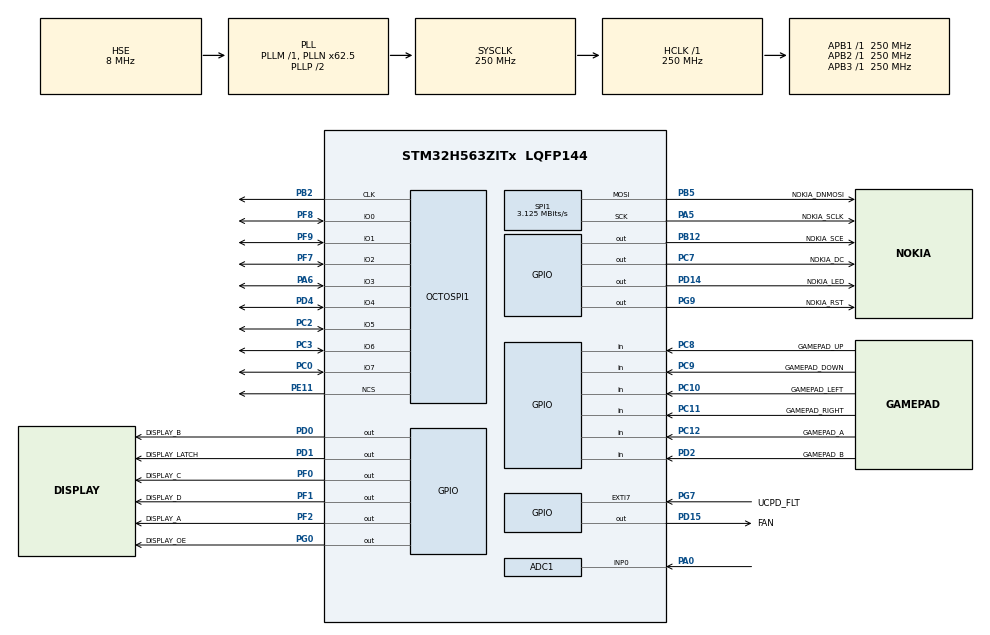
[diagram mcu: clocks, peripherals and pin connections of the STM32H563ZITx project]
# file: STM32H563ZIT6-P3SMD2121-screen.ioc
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ADC1.Channel-1\#ChannelRegularConversion=ADC_CHANNEL_0
ADC1.ClockPrescaler=ADC_CLOCK_ASYNC_DIV128
ADC1.ContinuousConvMode=ENABLE
ADC1.DMAContinuousRequests=ENABLE
ADC1.MonitoredBy-1\#ChannelRegularConversion=__NULL
ADC1.NbrOfConversionFlag=1
ADC1.OffsetNumber-1\#ChannelRegularConversion=ADC_OFFSET_NONE
ADC1.Rank-1\#ChannelRegularConversion=1
ADC1.SamplingTime-1\#ChannelRegularConversion=ADC_SAMPLETIME_2CYCLES_5
ADC1.master=1
BOOTPATH.BootPathName=LEGACY
BOOTPATH.UserSelectedBootPath=LEGACY
CORTEX_M33_NS.Number-Cortex_Memory_Protection_Unit_Region0_OTP_RO_AREAS_Settings=MPU_REGION_NUMBER0
CORTEX_M33_NS.default_mode_Activation=1
CORTEX_M33_NS.userName=CORTEX_M33
GPDMA1.CIRCULARMODE_GPDMACH2=ENABLE
GPDMA1.ChannelPRIV_GPDMACH0=DMA_CHANNEL_NPRIV
GPDMA1.DESTDATAWIDTH_GPDMACH2=DMA_DEST_DATAWIDTH_HALFWORD
GPDMA1.DESTINC_GPDMACH0=DMA_DINC_FIXED
GPDMA1.DESTINC_GPDMACH1=DMA_DINC_FIXED
GPDMA1.DIRECTION_GPDMACH0=DMA_MEMORY_TO_PERIPH
GPDMA1.DIRECTION_GPDMACH1=DMA_MEMORY_TO_PERIPH
GPDMA1.DMAHANDLE_GPDMACH0=hdmatx
GPDMA1.IPHANDLE_GPDMACH0-SIMPLEREQUEST_GPDMACH0=__NULL
GPDMA1.IPHANDLE_GPDMACH1-SIMPLEREQUEST_GPDMACH1=__NULL
GPDMA1.IPHANDLE_GPDMACH2-SIMPLEREQUEST_GPDMACH2=__NULL
GPDMA1.PRIORITY_GPDMACH0=DMA_LOW_PRIORITY_LOW_WEIGHT
GPDMA1.REQUEST_GPDMACH0=GPDMA1_REQUEST_OCTOSPI1
GPDMA1.REQUEST_GPDMACH1=GPDMA1_REQUEST_SPI1_TX
GPDMA1.REQUEST_GPDMACH2=GPDMA1_REQUEST_ADC1
GPDMA1.SRCDATAWIDTH_GPDMACH2=DMA_SRC_DATAWIDTH_HALFWORD
GPDMA1.SRCINC_GPDMACH0=DMA_SINC_INCREMENTED
GPDMA1.SRCINC_GPDMACH1=DMA_SINC_INCREMENTED
Mcu.Family=STM32H5
Mcu.Name=STM32H563ZITx
Mcu.Package=LQFP144
NUCLEO-H563ZI.BUTTON=1
NUCLEO-H563ZI.LD1=true
NUCLEO-H563ZI.LD2=true
NUCLEO-H563ZI.LD3=true
NUCLEO-H563ZI.VCP=true
NVIC.EXTI13_IRQn=true\:0\:0\:false\:false\:true\:false\:true\:true
NVIC.GPDMA1_Channel0_IRQn=true\:0\:0\:false\:false\:true\:false\:true\:true
NVIC.GPDMA1_Channel1_IRQn=true\:0\:0\:false\:false\:true\:false\:true\:true
NVIC.GPDMA1_Channel2_IRQn=true\:0\:0\:false\:false\:true\:false\:true\:true
NVIC.OCTOSPI1_IRQn=true\:0\:0\:false\:false\:true\:true\:true\:true
NVIC.PriorityGroup=NVIC_PRIORITYGROUP_4
NVIC.SPI1_IRQn=true\:0\:0\:false\:false\:true\:true\:true\:true
OCTOSPI1.ClockMode=HAL_XSPI_CLOCK_MODE_0
OCTOSPI1.ClockPrescaler=0
OCTOSPI1.MemorySize=HAL_XSPI_SIZE_1KB
OCTOSPI1.MemoryType=HAL_XSPI_MEMTYPE_MICRON
OCTOSPI1.SampleShifting=HAL_XSPI_SAMPLE_SHIFT_NONE
PA0.Signal=ADCx_INP0
PA1.GPIO_Label=RMII_REF_CLK
PA1.GPIO_Mode=GPIO_MODE_AF_PP
PA1.GPIO_PuPd=GPIO_NOPULL
PA1.GPIO_Speed=GPIO_SPEED_FREQ_LOW
PA1.Signal=ETH_REF_CLK
PA11.GPIO_Label=USB_FS_N
PA11.Signal=USB_DM
PA12.GPIO_Label=USB_FS_P
PA12.Signal=USB_DP
PA13(JTMS/SWDIO).GPIO_Label=SWDIO
PA13(JTMS/SWDIO).Signal=DEBUG_JTMS-SWDIO
PA14(JTCK/SWCLK).GPIO_Label=SWCLK
PA14(JTCK/SWCLK).Signal=DEBUG_JTCK-SWCLK
PA15(JTDI).GPIO_Label=T_JTDI
PA15(JTDI).Signal=DEBUG_JTDI
PA2.GPIO_Label=RMII_MDIO
PA2.GPIO_Mode=GPIO_MODE_AF_PP
PA2.GPIO_PuPd=GPIO_NOPULL
PA2.GPIO_Speed=GPIO_SPEED_FREQ_LOW
PA2.Signal=ETH_MDIO
PA4.GPIO_Label=VBUS_SENSE
PA4.Signal=ADCx_INP18
PA5.GPIO_Label=NOKIA_SCLK
PA5.Mode=TX_Only_Simplex_Unidirect_Master
PA5.Signal=SPI1_SCK
PA6.GPIO_Speed_High_Default=GPIO_SPEED_FREQ_LOW
PA6.Mode=OCTOSPI1_IO_Octo
PA6.Signal=OCTOSPI1_IO3
PA7.GPIO_Label=RMII_CRS_DV
PA7.GPIO_Mode=GPIO_MODE_AF_PP
PA7.GPIO_PuPd=GPIO_NOPULL
PA7.GPIO_Speed=GPIO_SPEED_FREQ_LOW
PA7.Signal=ETH_CRS_DV
PA9.GPIO_Label=UCDP_DBn
PA9.Signal=UCPD1_DB1
PB12.GPIO_Label=NOKIA_SCE
PB12.Signal=GPIO_Output
PB13.GPIO_Label=UCPD_CC1
PB13.Signal=UCPD1_CC1
PB14.GPIO_Label=UCPD_CC2
PB14.Signal=UCPD1_CC2
PB15.GPIO_Label=RMII_TXD1
PB15.GPIO_Mode=GPIO_MODE_AF_PP
PB15.GPIO_PuPd=GPIO_NOPULL
PB15.GPIO_Speed=GPIO_SPEED_FREQ_LOW
PB15.Signal=ETH_TXD1
PB2.GPIO_PuPd=GPIO_PULLUP
PB2.GPIO_Speed_High_Default=GPIO_SPEED_FREQ_LOW
PB2.Mode=octo_mode
PB2.Signal=OCTOSPI1_CLK
PB3(JTDO/TRACESWO).GPIO_Label=SWO
PB3(JTDO/TRACESWO).Signal=DEBUG_JTDO-SWO
PB5.GPIO_Label=NOKIA_DNMOSI
PB5.Mode=TX_Only_Simplex_Unidirect_Master
PB5.Signal=SPI1_MOSI
PB6.GPIO_Label=ARD_D1_TX
PB6.Signal=LPUART1_TX
PB7.GPIO_Label=ARD_D0_RX
PB7.Signal=LPUART1_RX
PC0.GPIO_Speed_High_Default=GPIO_SPEED_FREQ_LOW
PC0.Mode=OCTOSPI1_IO_Octo
PC0.Signal=OCTOSPI1_IO7
PC1.GPIO_Label=RMII_MDC
PC1.GPIO_Mode=GPIO_MODE_AF_PP
PC1.GPIO_PuPd=GPIO_NOPULL
PC1.GPIO_Speed=GPIO_SPEED_FREQ_LOW
PC1.Signal=ETH_MDC
PC10.GPIO_Label=GAMEPAD_LEFT
PC10.GPIO_PuPd=GPIO_PULLUP
PC10.Signal=GPIO_Input
PC11.GPIO_Label=GAMEPAD_RIGHT
PC11.GPIO_PuPd=GPIO_PULLUP
PC11.Signal=GPIO_Input
PC12.GPIO_Label=GAMEPAD_A
PC12.GPIO_PuPd=GPIO_PULLUP
PC12.Signal=GPIO_Input
PC14-OSC32_IN(OSC32_IN).Mode=LSE-External-Oscillator
PC14-OSC32_IN(OSC32_IN).Signal=RCC_OSC32_IN
PC15-OSC32_OUT(OSC32_OUT).Mode=LSE-External-Oscillator
PC15-OSC32_OUT(OSC32_OUT).Signal=RCC_OSC32_OUT
PC2.GPIO_Speed_High_Default=GPIO_SPEED_FREQ_LOW
PC2.Mode=OCTOSPI1_IO_Octo
PC2.Signal=OCTOSPI1_IO5
PC3.GPIO_Speed_High_Default=GPIO_SPEED_FREQ_LOW
PC3.Mode=OCTOSPI1_IO_Octo
PC3.Signal=OCTOSPI1_IO6
PC4.GPIO_Label=RMII_RXD0
PC4.GPIO_Mode=GPIO_MODE_AF_PP
PC4.GPIO_PuPd=GPIO_NOPULL
PC4.GPIO_Speed=GPIO_SPEED_FREQ_LOW
PC4.Signal=ETH_RXD0
PC5.GPIO_Label=RMII_RXD1
PC5.GPIO_Mode=GPIO_MODE_AF_PP
PC5.GPIO_PuPd=GPIO_NOPULL
PC5.GPIO_Speed=GPIO_SPEED_FREQ_LOW
PC5.Signal=ETH_RXD1
PC7.GPIO_Label=NOKIA_DC
PC7.Signal=GPIO_Output
PC8.GPIO_Label=GAMEPAD_UP
PC8.GPIO_PuPd=GPIO_PULLUP
PC8.Signal=GPIO_Input
PC9.GPIO_Label=GAMEPAD_DOWN
PC9.GPIO_PuPd=GPIO_PULLUP
PC9.Signal=GPIO_Input
PD0.GPIO_Label=DISPLAY_B
PD0.GPIO_ModeDefaultOutputPP=GPIO_MODE_OUTPUT_OD
PD0.GPIO_PuPd=GPIO_NOPULL
PD0.GPIO_Speed=GPIO_SPEED_FREQ_LOW
PD0.Signal=GPIO_Output
PD1.GPIO_Label=DISPLAY_LATCH
PD1.GPIO_ModeDefaultOutputPP=GPIO_MODE_OUTPUT_OD
PD1.GPIO_PuPd=GPIO_NOPULL
PD1.GPIO_Speed=GPIO_SPEED_FREQ_LOW
PD1.Signal=GPIO_Output
PD14.GPIO_Label=NOKIA_LED
PD14.Signal=GPIO_Output
PD15.GPIO_Label=FAN
PD15.Signal=GPIO_Output
PD2.GPIO_Label=GAMEPAD_B
PD2.GPIO_PuPd=GPIO_PULLUP
PD2.Signal=GPIO_Input
PD4.GPIO_Speed_High_Default=GPIO_SPEED_FREQ_LOW
PD4.Mode=OCTOSPI1_IO_Octo
PD4.Signal=OCTOSPI1_IO4
PD8.Signal=USART3_TX
PD9.Signal=USART3_RX
PE11.GPIO_Speed_High_Default=GPIO_SPEED_FREQ_LOW
PE11.Mode=octo_mode
PE11.Signal=OCTOSPI1_NCS
PE2.GPIO_Label=TRACE_CK
PE2.Signal=DEBUG_TRACECLK
PE3.GPIO_Label=TRACE_D0
PE3.Signal=DEBUG_TRACED0
PE4.GPIO_Label=TRACE_D1
PE4.Signal=DEBUG_TRACED1
PE5.GPIO_Label=TRACE_D2
PE5.Signal=DEBUG_TRACED2
PE6.GPIO_Label=TRACE_D3
PE6.Signal=DEBUG_TRACED3
PF0.GPIO_Label=DISPLAY_C
PF0.GPIO_ModeDefaultOutputPP=GPIO_MODE_OUTPUT_OD
PF0.GPIO_PuPd=GPIO_NOPULL
PF0.GPIO_Speed=GPIO_SPEED_FREQ_LOW
PF0.Signal=GPIO_Output
PF1.GPIO_Label=DISPLAY_D
PF1.GPIO_ModeDefaultOutputPP=GPIO_MODE_OUTPUT_OD
PF1.GPIO_PuPd=GPIO_NOPULL
PF1.GPIO_Speed=GPIO_SPEED_FREQ_LOW
PF1.Signal=GPIO_Output
PF2.GPIO_Label=DISPLAY_A
PF2.GPIO_ModeDefaultOutputPP=GPIO_MODE_OUTPUT_OD
PF2.GPIO_PuPd=GPIO_NOPULL
PF2.GPIO_Speed=GPIO_SPEED_FREQ_LOW
PF2.Signal=GPIO_Output
PF7.GPIO_Speed_High_Default=GPIO_SPEED_FREQ_LOW
PF7.Mode=OCTOSPI1_IO_Octo
PF7.Signal=OCTOSPI1_IO2
PF8.GPIO_Speed_High_Default=GPIO_SPEED_FREQ_LOW
PF8.Mode=OCTOSPI1_IO_Octo
PF8.Signal=OCTOSPI1_IO0
PF9.GPIO_Speed_High_Default=GPIO_SPEED_FREQ_LOW
PF9.Mode=OCTOSPI1_IO_Octo
PF9.Signal=OCTOSPI1_IO1
PG0.GPIO_Label=DISPLAY_OE
PG0.GPIO_ModeDefaultOutputPP=GPIO_MODE_OUTPUT_OD
PG0.GPIO_PuPd=GPIO_NOPULL
PG0.GPIO_Speed=GPIO_SPEED_FREQ_LOW
PG0.Signal=GPIO_Output
PG11.GPIO_Label=RMII_TXT_EN
PG11.GPIO_Mode=GPIO_MODE_AF_PP
PG11.GPIO_PuPd=GPIO_NOPULL
PG11.GPIO_Speed=GPIO_SPEED_FREQ_LOW
PG11.Signal=ETH_TX_EN
PG13.GPIO_Label=RMI_TXD0
PG13.GPIO_Mode=GPIO_MODE_AF_PP
PG13.GPIO_PuPd=GPIO_NOPULL
PG13.GPIO_Speed=GPIO_SPEED_FREQ_LOW
PG13.Signal=ETH_TXD0
PG7.GPIO_Label=UCPD_FLT
PG7.Signal=GPXTI7
PG9.GPIO_Label=NOKIA_RST
PG9.Signal=GPIO_Output
PH0-OSC_IN(PH0).GPIO_Label=STLK_MCO
PH0-OSC_IN(PH0).Mode=HSE-External-Clock-Source
PH0-OSC_IN(PH0).Signal=RCC_OSC_IN
ProjectManager.HeapSize=0x200
ProjectManager.StackSize=0x400
ProjectManager.TargetToolchain=STM32CubeIDE
RCC.ADCFreq_Value=250000000
RCC.AHBFreq_Value=250000000
RCC.APB1Freq_Value=250000000
RCC.APB1TimFreq_Value=250000000
RCC.APB2Freq_Value=250000000
RCC.APB2TimFreq_Value=250000000
RCC.APB3Freq_Value=250000000
RCC.CSI_VALUE=4000000
RCC.CortexFreq_Value=250000000
RCC.EPOD_VALUE=8000000
RCC.HCLKFreq_Value=250000000
RCC.HSE_VALUE=8000000
RCC.HSI48_VALUE=48000000
RCC.HSIDiv=RCC_HSI_DIV1
RCC.HSI_VALUE=64000000
RCC.LSIRC_VALUE=32000
RCC.OCTOSPIMCLockSelection=RCC_OSPICLKSOURCE_PLL2R
RCC.PLL1Q=5
RCC.PLL2FRACN=0
RCC.PLL2N=16
RCC.PLL2R=64
RCC.PLL2Source=RCC_PLL2_SOURCE_HSE
RCC.PLLFRACN=4096
RCC.PLLN=62
RCC.PLLSourceVirtual=RCC_PLL1_SOURCE_HSE
RCC.SYSCLKFreq_VALUE=250000000
RCC.SYSCLKSource=RCC_SYSCLKSOURCE_PLLCLK
RCC.USBFreq_Value=48000000
RCC.VCOOutputFreq_Value=500000000
SH.ADCx_INP0.0=ADC1_INP0,IN0-Single-Ended
SH.ADCx_INP18.0=ADC1_INP18
SPI1.BaudRatePrescaler=SPI_BAUDRATEPRESCALER_32
SPI1.CLKPolarity=SPI_POLARITY_LOW
SPI1.CRCCalculation=SPI_CRCCALCULATION_DISABLE
SPI1.CalculateBaudRate=3.125 MBits/s
SPI1.DataSize=SPI_DATASIZE_8BIT
SPI1.Direction=SPI_DIRECTION_2LINES_TXONLY
SPI1.FirstBit=SPI_FIRSTBIT_MSB
SPI1.Mode=SPI_MODE_MASTER
SPI1.NSSPMode=SPI_NSS_PULSE_DISABLE
SPI1.VirtualType=VM_MASTER
VP_BOOTPATH_VS_BOOTPATH.Mode=BP_Activate
VP_CORTEX_M33_NS_VS_Hclk.Mode=Hclk_Mode
VP_GPDMA1_VS_GPDMACH0.Mode=SIMPLEREQUEST_GPDMACH0
VP_GPDMA1_VS_GPDMACH1.Mode=SIMPLEREQUEST_GPDMACH1
VP_GPDMA1_VS_GPDMACH2.Mode=SIMPLEREQUEST_GPDMACH2
VP_ICACHE_VS_ICACHE.Mode=DirectMappedCache
VP_MEMORYMAP_VS_MEMORYMAP.Mode=CurAppReg
VP_NUCLEO-H563ZI_VS_BSP_COMMON.Mode=COMMON
VP_PWR_VS_DBSignals.Mode=DisableDeadBatterySignals
VP_PWR_VS_LPOM.Mode=PowerOptimisation
VP_PWR_VS_SECSignals.Mode=Security/Privilege
board=NUCLEO-H563ZI

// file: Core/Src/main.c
/* USER CODE BEGIN Header */
/**
  ******************************************************************************
  * @file           : main.c
  * @brief          : Main program body
  ******************************************************************************
  * @attention
  *
  * Copyright (c) 2026 STMicroelectronics.
  * All rights reserved.
  *
  * This software is licensed under terms that can be found in the LICENSE file
  * in the root directory of this software component.
  * If no LICENSE file comes with this software, it is provided AS-IS.
  *
  ******************************************************************************
  */
/* USER CODE END Header */
#include "main.h"

/* USER CODE BEGIN Includes */
#include "hub75_ospi.h"
#include "nokia3310.h"
#include "main_logic.h"
#include "gamepad.h"
/* USER CODE END Includes */

COM_InitTypeDef BspCOMInit;
ADC_HandleTypeDef hadc1;
DMA_NodeTypeDef Node_GPDMA1_Channel2;
DMA_QListTypeDef List_GPDMA1_Channel2;
DMA_HandleTypeDef handle_GPDMA1_Channel2;

XSPI_HandleTypeDef hxspi1;
DMA_HandleTypeDef handle_GPDMA1_Channel0;

SPI_HandleTypeDef hspi1;
DMA_HandleTypeDef handle_GPDMA1_Channel1;

/* USER CODE BEGIN PV */
volatile uint32_t adcBuffer[1] = {0};
volatile uint32_t randomNumber = 0;
volatile uint8_t randomBits = 0;
/* USER CODE END PV */

void SystemClock_Config(void);
static void MPU_Config(void);
static void MX_GPIO_Init(void);
static void MX_GPDMA1_Init(void);
static void MX_ICACHE_Init(void);
static void MX_OCTOSPI1_Init(void);
static void MX_SPI1_Init(void);
static void MX_ADC1_Init(void);
/* USER CODE BEGIN PFP */

void HAL_ADC_ConvCpltCallback(ADC_HandleTypeDef* hadc);

/* USER CODE END PFP */

int main(void)
{

  /* MCU Configuration--------------------------------------------------------*/

  /* MPU Configuration--------------------------------------------------------*/
  MPU_Config();

  /* Reset of all peripherals, Initializes the Flash interface and the Systick. */
  HAL_Init();

  /* Configure the system clock */
  SystemClock_Config();

  /* Initialize all configured peripherals */
  MX_GPIO_Init();
  MX_GPDMA1_Init();
  MX_ICACHE_Init();
  MX_OCTOSPI1_Init();
  MX_SPI1_Init();
  MX_ADC1_Init();
  /* USER CODE BEGIN 2 */

  HAL_ADC_Start_DMA(&hadc1, adcBuffer, 1);

  /* USER CODE END 2 */

  /* Initialize leds */
  BSP_LED_Init(LED_GREEN);
  BSP_LED_Init(LED_YELLOW);
  BSP_LED_Init(LED_RED);

  /* Initialize USER push-button, will be used to trigger an interrupt each time it's pressed.*/
  BSP_PB_Init(BUTTON_USER, BUTTON_MODE_EXTI);

  /* Initialize COM1 port (115200, 8 bits (7-bit data + 1 stop bit), no parity */
  BspCOMInit.BaudRate   = 115200;
  BspCOMInit.WordLength = COM_WORDLENGTH_8B;
  BspCOMInit.StopBits   = COM_STOPBITS_1;
  BspCOMInit.Parity     = COM_PARITY_NONE;
  BspCOMInit.HwFlowCtl  = COM_HWCONTROL_NONE;
  if (BSP_COM_Init(COM1, &BspCOMInit) != BSP_ERROR_NONE)
  {
    Error_Handler();
  }

  /* Infinite loop */
  /* USER CODE BEGIN WHILE */
  HAL_GPIO_WritePin(LED1_GPIO_PORT, LED1_PIN, GPIO_PIN_RESET);
  HAL_GPIO_WritePin(LED2_GPIO_PORT, LED2_PIN, GPIO_PIN_RESET);
  HAL_GPIO_WritePin(LED3_GPIO_PORT, LED3_PIN, GPIO_PIN_RESET);

  /* NOKIA driver init */
  NOKIA_Init(&hspi1);

  /* HUB75 driver init */
  HUB75_Init(&hxspi1);

  //DrawProtogen();

  NOKIA_StartDataPrepare();
  NOKIA_SetChar('B', 20, 20, 1, 0);
  NOKIA_StopDataPrepare();
  NOKIA_SendData();

  LogicInit();

  while (1)
  {
	LogicLoop();
    /* USER CODE END WHILE */

  }
}

void SystemClock_Config(void)
{
  RCC_OscInitTypeDef RCC_OscInitStruct = {0};
  RCC_ClkInitTypeDef RCC_ClkInitStruct = {0};

  /** Configure the main internal regulator output voltage
  */
  __HAL_PWR_VOLTAGESCALING_CONFIG(PWR_REGULATOR_VOLTAGE_SCALE0);

  while(!__HAL_PWR_GET_FLAG(PWR_FLAG_VOSRDY)) {}

  /** Initializes the RCC Oscillators according to the specified parameters
  * in the RCC_OscInitTypeDef structure.
  */
  RCC_OscInitStruct.OscillatorType = RCC_OSCILLATORTYPE_HSE;
  RCC_OscInitStruct.HSEState = RCC_HSE_BYPASS;
  RCC_OscInitStruct.PLL.PLLState = RCC_PLL_ON;
  RCC_OscInitStruct.PLL.PLLSource = RCC_PLL1_SOURCE_HSE;
  RCC_OscInitStruct.PLL.PLLM = 1;
  RCC_OscInitStruct.PLL.PLLN = 62;
  RCC_OscInitStruct.PLL.PLLP = 2;
  RCC_OscInitStruct.PLL.PLLQ = 5;
  RCC_OscInitStruct.PLL.PLLR = 2;
  RCC_OscInitStruct.PLL.PLLRGE = RCC_PLL1_VCIRANGE_3;
  RCC_OscInitStruct.PLL.PLLVCOSEL = RCC_PLL1_VCORANGE_WIDE;
  RCC_OscInitStruct.PLL.PLLFRACN = 4096;
  if (HAL_RCC_OscConfig(&RCC_OscInitStruct) != HAL_OK)
  {
    Error_Handler();
  }

  /** Initializes the CPU, AHB and APB buses clocks
  */
  RCC_ClkInitStruct.ClockType = RCC_CLOCKTYPE_HCLK|RCC_CLOCKTYPE_SYSCLK
                              |RCC_CLOCKTYPE_PCLK1|RCC_CLOCKTYPE_PCLK2
                              |RCC_CLOCKTYPE_PCLK3;
  RCC_ClkInitStruct.SYSCLKSource = RCC_SYSCLKSOURCE_PLLCLK;
  RCC_ClkInitStruct.AHBCLKDivider = RCC_SYSCLK_DIV1;
  RCC_ClkInitStruct.APB1CLKDivider = RCC_HCLK_DIV1;
  RCC_ClkInitStruct.APB2CLKDivider = RCC_HCLK_DIV1;
  RCC_ClkInitStruct.APB3CLKDivider = RCC_HCLK_DIV1;

  if (HAL_RCC_ClockConfig(&RCC_ClkInitStruct, FLASH_LATENCY_5) != HAL_OK)
  {
    Error_Handler();
  }

  /** Configure the programming delay
  */
  __HAL_FLASH_SET_PROGRAM_DELAY(FLASH_PROGRAMMING_DELAY_2);
}

static void MX_ADC1_Init(void)
{

  ADC_ChannelConfTypeDef sConfig = {0};

  /** Common config
  */
  hadc1.Instance = ADC1;
  hadc1.Init.ClockPrescaler = ADC_CLOCK_ASYNC_DIV128;
  hadc1.Init.Resolution = ADC_RESOLUTION_12B;
  hadc1.Init.DataAlign = ADC_DATAALIGN_RIGHT;
  hadc1.Init.ScanConvMode = ADC_SCAN_DISABLE;
  hadc1.Init.EOCSelection = ADC_EOC_SINGLE_CONV;
  hadc1.Init.LowPowerAutoWait = DISABLE;
  hadc1.Init.ContinuousConvMode = ENABLE;
  hadc1.Init.NbrOfConversion = 1;
  hadc1.Init.DiscontinuousConvMode = DISABLE;
  hadc1.Init.ExternalTrigConv = ADC_SOFTWARE_START;
  hadc1.Init.ExternalTrigConvEdge = ADC_EXTERNALTRIGCONVEDGE_NONE;
  hadc1.Init.DMAContinuousRequests = ENABLE;
  hadc1.Init.SamplingMode = ADC_SAMPLING_MODE_NORMAL;
  hadc1.Init.Overrun = ADC_OVR_DATA_PRESERVED;
  hadc1.Init.OversamplingMode = DISABLE;
  if (HAL_ADC_Init(&hadc1) != HAL_OK)
  {
    Error_Handler();
  }

  /** Configure Regular Channel
  */
  sConfig.Channel = ADC_CHANNEL_0;
  sConfig.Rank = ADC_REGULAR_RANK_1;
  sConfig.SamplingTime = ADC_SAMPLETIME_2CYCLES_5;
  sConfig.SingleDiff = ADC_SINGLE_ENDED;
  sConfig.OffsetNumber = ADC_OFFSET_NONE;
  sConfig.Offset = 0;
  if (HAL_ADC_ConfigChannel(&hadc1, &sConfig) != HAL_OK)
  {
    Error_Handler();
  }

}

static void MX_GPDMA1_Init(void)
{

  /* Peripheral clock enable */
  __HAL_RCC_GPDMA1_CLK_ENABLE();

  /* GPDMA1 interrupt Init */
    HAL_NVIC_SetPriority(GPDMA1_Channel0_IRQn, 0, 0);
    HAL_NVIC_EnableIRQ(GPDMA1_Channel0_IRQn);
    HAL_NVIC_SetPriority(GPDMA1_Channel1_IRQn, 0, 0);
    HAL_NVIC_EnableIRQ(GPDMA1_Channel1_IRQn);
    HAL_NVIC_SetPriority(GPDMA1_Channel2_IRQn, 0, 0);
    HAL_NVIC_EnableIRQ(GPDMA1_Channel2_IRQn);

}

static void MX_ICACHE_Init(void)
{

  /** Enable instruction cache in 1-way (direct mapped cache)
  */
  if (HAL_ICACHE_ConfigAssociativityMode(ICACHE_1WAY) != HAL_OK)
  {
    Error_Handler();
  }
  if (HAL_ICACHE_Enable() != HAL_OK)
  {
    Error_Handler();
  }

}

static void MX_OCTOSPI1_Init(void)
{

  /* OCTOSPI1 parameter configuration*/
  hxspi1.Instance = OCTOSPI1;
  hxspi1.Init.FifoThresholdByte = 1;
  hxspi1.Init.MemoryMode = HAL_XSPI_SINGLE_MEM;
  hxspi1.Init.MemoryType = HAL_XSPI_MEMTYPE_MICRON;
  hxspi1.Init.MemorySize = HAL_XSPI_SIZE_1KB;
  hxspi1.Init.ChipSelectHighTimeCycle = 1;
  hxspi1.Init.FreeRunningClock = HAL_XSPI_FREERUNCLK_DISABLE;
  hxspi1.Init.ClockMode = HAL_XSPI_CLOCK_MODE_0;
  hxspi1.Init.WrapSize = HAL_XSPI_WRAP_NOT_SUPPORTED;
  hxspi1.Init.ClockPrescaler = 0;
  hxspi1.Init.SampleShifting = HAL_XSPI_SAMPLE_SHIFT_NONE;
  hxspi1.Init.DelayHoldQuarterCycle = HAL_XSPI_DHQC_DISABLE;
  hxspi1.Init.ChipSelectBoundary = HAL_XSPI_BONDARYOF_NONE;
  hxspi1.Init.DelayBlockBypass = HAL_XSPI_DELAY_BLOCK_BYPASS;
  hxspi1.Init.Refresh = 0;
  if (HAL_XSPI_Init(&hxspi1) != HAL_OK)
  {
    Error_Handler();
  }

}

static void MX_SPI1_Init(void)
{

  /* SPI1 parameter configuration*/
  hspi1.Instance = SPI1;
  hspi1.Init.Mode = SPI_MODE_MASTER;
  hspi1.Init.Direction = SPI_DIRECTION_2LINES_TXONLY;
  hspi1.Init.DataSize = SPI_DATASIZE_8BIT;
  hspi1.Init.CLKPolarity = SPI_POLARITY_LOW;
  hspi1.Init.CLKPhase = SPI_PHASE_1EDGE;
  hspi1.Init.NSS = SPI_NSS_SOFT;
  hspi1.Init.BaudRatePrescaler = SPI_BAUDRATEPRESCALER_32;
  hspi1.Init.FirstBit = SPI_FIRSTBIT_MSB;
  hspi1.Init.TIMode = SPI_TIMODE_DISABLE;
  hspi1.Init.CRCCalculation = SPI_CRCCALCULATION_DISABLE;
  hspi1.Init.CRCPolynomial = 0x7;
  hspi1.Init.NSSPMode = SPI_NSS_PULSE_DISABLE;
  hspi1.Init.NSSPolarity = SPI_NSS_POLARITY_LOW;
  hspi1.Init.FifoThreshold = SPI_FIFO_THRESHOLD_01DATA;
  hspi1.Init.MasterSSIdleness = SPI_MASTER_SS_IDLENESS_00CYCLE;
  hspi1.Init.MasterInterDataIdleness = SPI_MASTER_INTERDATA_IDLENESS_00CYCLE;
  hspi1.Init.MasterReceiverAutoSusp = SPI_MASTER_RX_AUTOSUSP_DISABLE;
  hspi1.Init.MasterKeepIOState = SPI_MASTER_KEEP_IO_STATE_DISABLE;
  hspi1.Init.IOSwap = SPI_IO_SWAP_DISABLE;
  hspi1.Init.ReadyMasterManagement = SPI_RDY_MASTER_MANAGEMENT_INTERNALLY;
  hspi1.Init.ReadyPolarity = SPI_RDY_POLARITY_HIGH;
  if (HAL_SPI_Init(&hspi1) != HAL_OK)
  {
    Error_Handler();
  }

}

static void MX_GPIO_Init(void)
{
  GPIO_InitTypeDef GPIO_InitStruct = {0};

  /* GPIO Ports Clock Enable */
  __HAL_RCC_GPIOE_CLK_ENABLE();
  __HAL_RCC_GPIOC_CLK_ENABLE();
  __HAL_RCC_GPIOF_CLK_ENABLE();
  __HAL_RCC_GPIOH_CLK_ENABLE();
  __HAL_RCC_GPIOA_CLK_ENABLE();
  __HAL_RCC_GPIOB_CLK_ENABLE();
  __HAL_RCC_GPIOG_CLK_ENABLE();
  __HAL_RCC_GPIOD_CLK_ENABLE();

  /*Configure GPIO pin Output Level */
  HAL_GPIO_WritePin(GPIOF, DISPLAY_C_Pin|DISPLAY_D_Pin|DISPLAY_A_Pin, GPIO_PIN_RESET);

  /*Configure GPIO pin Output Level */
  HAL_GPIO_WritePin(GPIOG, DISPLAY_OE_Pin|NOKIA_RST_Pin, GPIO_PIN_RESET);

  /*Configure GPIO pin Output Level */
  HAL_GPIO_WritePin(NOKIA_SCE_GPIO_Port, NOKIA_SCE_Pin, GPIO_PIN_RESET);

  /*Configure GPIO pin Output Level */
  HAL_GPIO_WritePin(GPIOD, NOKIA_LED_Pin|FAN_Pin|DISPLAY_B_Pin|DISPLAY_LATCH_Pin, GPIO_PIN_RESET);

  /*Configure GPIO pin Output Level */
  HAL_GPIO_WritePin(NOKIA_DC_GPIO_Port, NOKIA_DC_Pin, GPIO_PIN_RESET);

  /*Configure GPIO pins : DISPLAY_C_Pin DISPLAY_D_Pin DISPLAY_A_Pin */
  GPIO_InitStruct.Pin = DISPLAY_C_Pin|DISPLAY_D_Pin|DISPLAY_A_Pin;
  GPIO_InitStruct.Mode = GPIO_MODE_OUTPUT_OD;
  GPIO_InitStruct.Pull = GPIO_NOPULL;
  GPIO_InitStruct.Speed = GPIO_SPEED_FREQ_LOW;
  HAL_GPIO_Init(GPIOF, &GPIO_InitStruct);

  /*Configure GPIO pins : RMII_MDC_Pin RMII_RXD0_Pin RMII_RXD1_Pin */
  GPIO_InitStruct.Pin = RMII_MDC_Pin|RMII_RXD0_Pin|RMII_RXD1_Pin;
  GPIO_InitStruct.Mode = GPIO_MODE_AF_PP;
  GPIO_InitStruct.Pull = GPIO_NOPULL;
  GPIO_InitStruct.Speed = GPIO_SPEED_FREQ_HIGH;
  GPIO_InitStruct.Alternate = GPIO_AF11_ETH;
  HAL_GPIO_Init(GPIOC, &GPIO_InitStruct);

  /*Configure GPIO pins : RMII_REF_CLK_Pin RMII_MDIO_Pin RMII_CRS_DV_Pin */
  GPIO_InitStruct.Pin = RMII_REF_CLK_Pin|RMII_MDIO_Pin|RMII_CRS_DV_Pin;
  GPIO_InitStruct.Mode = GPIO_MODE_AF_PP;
  GPIO_InitStruct.Pull = GPIO_NOPULL;
  GPIO_InitStruct.Speed = GPIO_SPEED_FREQ_HIGH;
  GPIO_InitStruct.Alternate = GPIO_AF11_ETH;
  HAL_GPIO_Init(GPIOA, &GPIO_InitStruct);

  /*Configure GPIO pin : DISPLAY_OE_Pin */
  GPIO_InitStruct.Pin = DISPLAY_OE_Pin;
  GPIO_InitStruct.Mode = GPIO_MODE_OUTPUT_OD;
  GPIO_InitStruct.Pull = GPIO_NOPULL;
  GPIO_InitStruct.Speed = GPIO_SPEED_FREQ_LOW;
  HAL_GPIO_Init(DISPLAY_OE_GPIO_Port, &GPIO_InitStruct);

  /*Configure GPIO pin : NOKIA_SCE_Pin */
  GPIO_InitStruct.Pin = NOKIA_SCE_Pin;
  GPIO_InitStruct.Mode = GPIO_MODE_OUTPUT_PP;
  GPIO_InitStruct.Pull = GPIO_NOPULL;
  GPIO_InitStruct.Speed = GPIO_SPEED_FREQ_LOW;
  HAL_GPIO_Init(NOKIA_SCE_GPIO_Port, &GPIO_InitStruct);

  /*Configure GPIO pins : UCPD_CC1_Pin UCPD_CC2_Pin */
  GPIO_InitStruct.Pin = UCPD_CC1_Pin|UCPD_CC2_Pin;
  GPIO_InitStruct.Mode = GPIO_MODE_ANALOG;
  GPIO_InitStruct.Pull = GPIO_NOPULL;
  HAL_GPIO_Init(GPIOB, &GPIO_InitStruct);

  /*Configure GPIO pin : RMII_TXD1_Pin */
  GPIO_InitStruct.Pin = RMII_TXD1_Pin;
  GPIO_InitStruct.Mode = GPIO_MODE_AF_PP;
  GPIO_InitStruct.Pull = GPIO_NOPULL;
  GPIO_InitStruct.Speed = GPIO_SPEED_FREQ_HIGH;
  GPIO_InitStruct.Alternate = GPIO_AF11_ETH;
  HAL_GPIO_Init(RMII_TXD1_GPIO_Port, &GPIO_InitStruct);

  /*Configure GPIO pins : NOKIA_LED_Pin FAN_Pin */
  GPIO_InitStruct.Pin = NOKIA_LED_Pin|FAN_Pin;
  GPIO_InitStruct.Mode = GPIO_MODE_OUTPUT_PP;
  GPIO_InitStruct.Pull = GPIO_NOPULL;
  GPIO_InitStruct.Speed = GPIO_SPEED_FREQ_LOW;
  HAL_GPIO_Init(GPIOD, &GPIO_InitStruct);

  /*Configure GPIO pin : UCPD_FLT_Pin */
  GPIO_InitStruct.Pin = UCPD_FLT_Pin;
  GPIO_InitStruct.Mode = GPIO_MODE_IT_RISING;
  GPIO_InitStruct.Pull = GPIO_NOPULL;
  HAL_GPIO_Init(UCPD_FLT_GPIO_Port, &GPIO_InitStruct);

  /*Configure GPIO pin : NOKIA_DC_Pin */
  GPIO_InitStruct.Pin = NOKIA_DC_Pin;
  GPIO_InitStruct.Mode = GPIO_MODE_OUTPUT_PP;
  GPIO_InitStruct.Pull = GPIO_NOPULL;
  GPIO_InitStruct.Speed = GPIO_SPEED_FREQ_LOW;
  HAL_GPIO_Init(NOKIA_DC_GPIO_Port, &GPIO_InitStruct);

  /*Configure GPIO pins : GAMEPAD_UP_Pin GAMEPAD_DOWN_Pin GAMEPAD_LEFT_Pin GAMEPAD_RIGHT_Pin
                           GAMEPAD_A_Pin */
  GPIO_InitStruct.Pin = GAMEPAD_UP_Pin|GAMEPAD_DOWN_Pin|GAMEPAD_LEFT_Pin|GAMEPAD_RIGHT_Pin
                          |GAMEPAD_A_Pin;
  GPIO_InitStruct.Mode = GPIO_MODE_INPUT;
  GPIO_InitStruct.Pull = GPIO_PULLUP;
  HAL_GPIO_Init(GPIOC, &GPIO_InitStruct);

  /*Configure GPIO pins : USB_FS_N_Pin USB_FS_P_Pin */
  GPIO_InitStruct.Pin = USB_FS_N_Pin|USB_FS_P_Pin;
  GPIO_InitStruct.Mode = GPIO_MODE_AF_PP;
  GPIO_InitStruct.Pull = GPIO_NOPULL;
  GPIO_InitStruct.Speed = GPIO_SPEED_FREQ_LOW;
  GPIO_InitStruct.Alternate = GPIO_AF10_USB;
  HAL_GPIO_Init(GPIOA, &GPIO_InitStruct);

  /*Configure GPIO pins : DISPLAY_B_Pin DISPLAY_LATCH_Pin */
  GPIO_InitStruct.Pin = DISPLAY_B_Pin|DISPLAY_LATCH_Pin;
  GPIO_InitStruct.Mode = GPIO_MODE_OUTPUT_OD;
  GPIO_InitStruct.Pull = GPIO_NOPULL;
  GPIO_InitStruct.Speed = GPIO_SPEED_FREQ_LOW;
  HAL_GPIO_Init(GPIOD, &GPIO_InitStruct);

  /*Configure GPIO pin : GAMEPAD_B_Pin */
  GPIO_InitStruct.Pin = GAMEPAD_B_Pin;
  GPIO_InitStruct.Mode = GPIO_MODE_INPUT;
  GPIO_InitStruct.Pull = GPIO_PULLUP;
  HAL_GPIO_Init(GAMEPAD_B_GPIO_Port, &GPIO_InitStruct);

  /*Configure GPIO pin : NOKIA_RST_Pin */
  GPIO_InitStruct.Pin = NOKIA_RST_Pin;
  GPIO_InitStruct.Mode = GPIO_MODE_OUTPUT_PP;
  GPIO_InitStruct.Pull = GPIO_NOPULL;
  GPIO_InitStruct.Speed = GPIO_SPEED_FREQ_LOW;
  HAL_GPIO_Init(NOKIA_RST_GPIO_Port, &GPIO_InitStruct);

  /*Configure GPIO pins : RMII_TXT_EN_Pin RMI_TXD0_Pin */
  GPIO_InitStruct.Pin = RMII_TXT_EN_Pin|RMI_TXD0_Pin;
  GPIO_InitStruct.Mode = GPIO_MODE_AF_PP;
  GPIO_InitStruct.Pull = GPIO_NOPULL;
  GPIO_InitStruct.Speed = GPIO_SPEED_FREQ_HIGH;
  GPIO_InitStruct.Alternate = GPIO_AF11_ETH;
  HAL_GPIO_Init(GPIOG, &GPIO_InitStruct);

  /*Configure GPIO pins : ARD_D1_TX_Pin ARD_D0_RX_Pin */
  GPIO_InitStruct.Pin = ARD_D1_TX_Pin|ARD_D0_RX_Pin;
  GPIO_InitStruct.Mode = GPIO_MODE_AF_PP;
  GPIO_InitStruct.Pull = GPIO_NOPULL;
  GPIO_InitStruct.Speed = GPIO_SPEED_FREQ_LOW;
  GPIO_InitStruct.Alternate = GPIO_AF8_LPUART1;
  HAL_GPIO_Init(GPIOB, &GPIO_InitStruct);

}

/* USER CODE BEGIN 4 */

void HAL_ADC_ConvCpltCallback(ADC_HandleTypeDef* hadc) {
	static uint32_t randomNumberBuffer = 0;
	static uint8_t randomShift = 0;
	static uint8_t randomBitsBuffer = 0;

	if (adcBuffer[0] & 1) {
		randomNumberBuffer |= 1 << randomShift;
		randomBitsBuffer++;
	}
	randomShift++;

	if (randomShift > 31) {
		randomNumber = randomNumberBuffer;
		randomBits = randomBitsBuffer;
		randomNumberBuffer = 0;
		randomShift = 0;
		randomBitsBuffer = 0;
	}
}

/* USER CODE END 4 */

 /* MPU Configuration */

void MPU_Config(void)
{
  MPU_Region_InitTypeDef MPU_InitStruct = {0};
  MPU_Attributes_InitTypeDef MPU_AttributesInit = {0};

  /* Disables the MPU */
  HAL_MPU_Disable();

  /** Initializes and configures the Region 0 and the memory to be protected
  */
  MPU_InitStruct.Enable = MPU_REGION_ENABLE;
  MPU_InitStruct.Number = MPU_REGION_NUMBER0;
  MPU_InitStruct.BaseAddress = 0x08FFF000;
  MPU_InitStruct.LimitAddress = 0x08FFFFFF;
  MPU_InitStruct.AttributesIndex = MPU_ATTRIBUTES_NUMBER0;
  MPU_InitStruct.AccessPermission = MPU_REGION_ALL_RO;
  MPU_InitStruct.DisableExec = MPU_INSTRUCTION_ACCESS_DISABLE;
  MPU_InitStruct.IsShareable = MPU_ACCESS_NOT_SHAREABLE;

  HAL_MPU_ConfigRegion(&MPU_InitStruct);

  /** Initializes and configures the Attribute 0 and the memory to be protected
  */
  MPU_AttributesInit.Number = MPU_ATTRIBUTES_NUMBER0;
  MPU_AttributesInit.Attributes = INNER_OUTER(MPU_NOT_CACHEABLE);

  HAL_MPU_ConfigMemoryAttributes(&MPU_AttributesInit);
  /* Enables the MPU */
  HAL_MPU_Enable(MPU_PRIVILEGED_DEFAULT);

}

void Error_Handler(void)
{
  __disable_irq();
  while (1)
  {
  }
}
